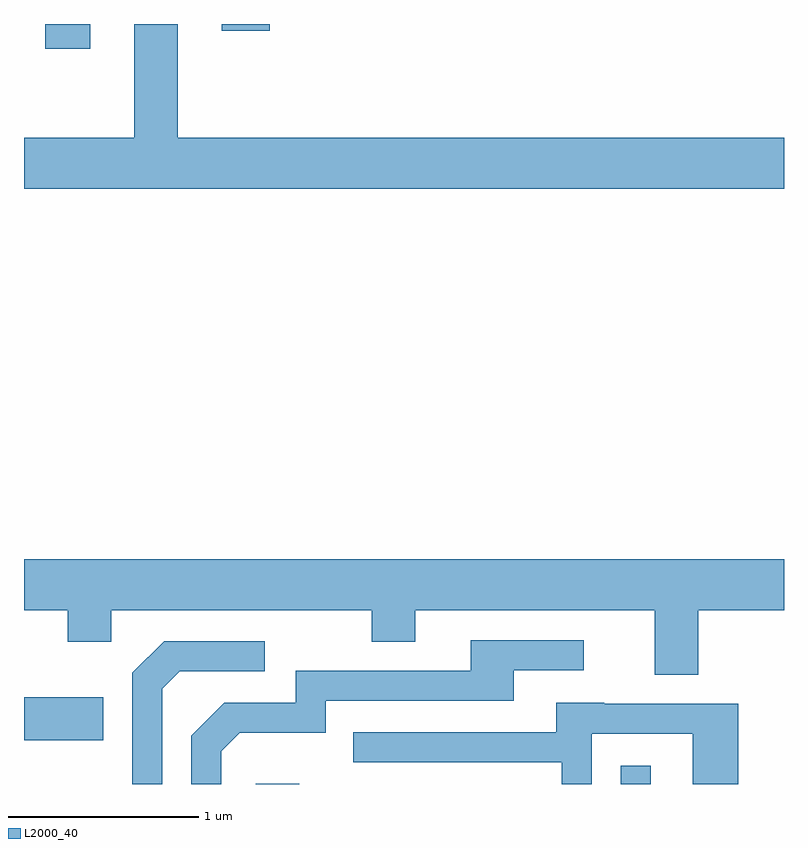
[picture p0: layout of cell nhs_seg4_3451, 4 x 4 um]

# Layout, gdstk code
import gdstk
lib = gdstk.Library(unit=1e-6, precision=1e-09)
def R(c, l, rs):  # rectangles x0, y0, x1, y1
    for r in rs: c.add(gdstk.rectangle(r[:2], r[2:], *l))
def P(c, l, *ps):  # polygons
    for p in ps: c.add(gdstk.Polygon(p, *l))
L2000_40 = (2000, 40)

nhs_seg4_3451 = lib.new_cell('nhs_seg4_3451')
R(nhs_seg4_3451, L2000_40, [(286.831,1355.982,287.059,1355.984), (288.751,1355.982,288.909,1356.078), (285.611,1356.211,286.029,1356.439), (285.723,1359.851,285.959,1359.982), (286.651,1359.946,286.904,1359.982)])
P(nhs_seg4_3451, L2000_40, [(289.611,1359.384),(286.419,1359.384),(286.419,1359.982),(286.191,1359.982),(286.191,1359.384),(285.611,1359.384),(285.611,1359.116),(289.611,1359.116)],
  [(289.159,1356.896),(289.611,1356.896),(289.611,1357.164),(285.611,1357.164),(285.611,1356.896),(285.841,1356.896),(285.841,1356.731),(286.069,1356.731),(286.069,1356.896),(287.441,1356.896),(287.441,1356.731),(287.669,1356.731),(287.669,1356.896),(288.931,1356.896),(288.931,1356.556),(289.159,1356.556)],
  [(286.649,1356.154),(286.747,1356.251),(287.199,1356.251),(287.199,1356.421),(288.189,1356.421),(288.189,1356.581),(288.558,1356.581),(288.558,1356.739),(287.961,1356.739),(287.961,1356.579),(287.041,1356.579),(287.041,1356.409),(286.664,1356.409),(286.491,1356.237),(286.491,1355.982),(286.649,1355.982)],
  [(286.339,1356.484),(286.432,1356.576),(286.878,1356.576),(286.878,1356.734),(286.349,1356.734),(286.181,1356.567),(286.181,1355.982),(286.339,1355.982)],
  [(288.599,1356.246),(289.131,1356.246),(289.131,1355.982),(289.369,1355.982),(289.369,1356.404),(288.665,1356.404),(288.665,1356.409),(288.411,1356.409),(288.411,1356.254),(287.343,1356.254),(287.343,1356.096),(288.441,1356.096),(288.441,1355.982),(288.599,1355.982)])

lib.write_gds('nhs_seg4_3451.gds')
